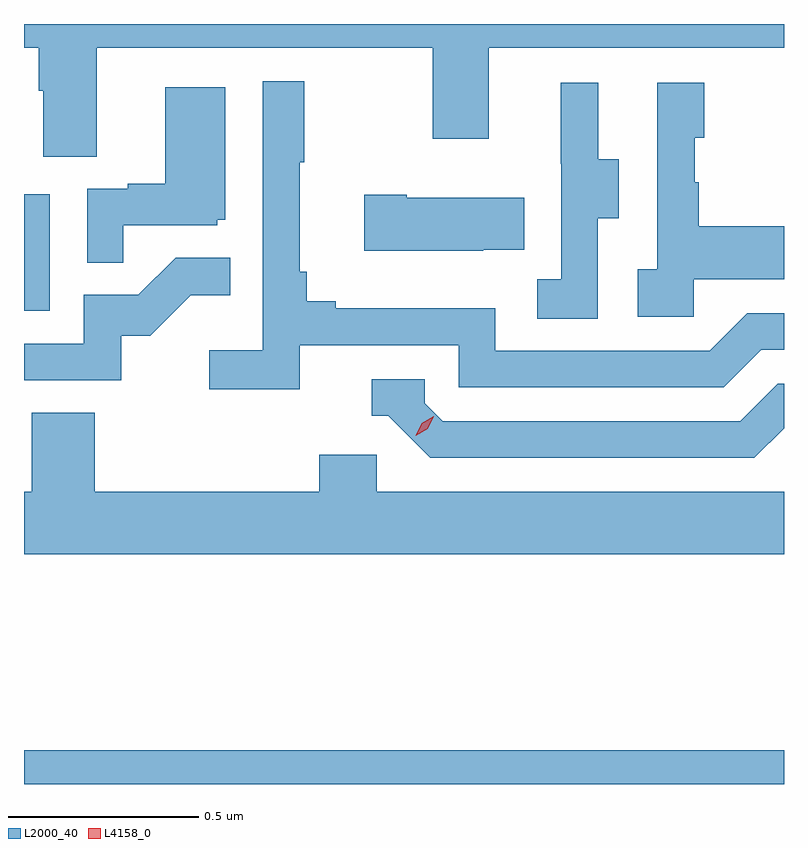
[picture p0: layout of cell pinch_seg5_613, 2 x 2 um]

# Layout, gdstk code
import gdstk
lib = gdstk.Library(unit=1e-6, precision=1e-09)
def R(c, l, rs):  # rectangles x0, y0, x1, y1
    for r in rs: c.add(gdstk.rectangle(r[:2], r[2:], *l))
def P(c, l, *ps):  # polygons
    for p in ps: c.add(gdstk.Polygon(p, *l))
L2000_40 = (2000, 40)
L4158_0 = (4158, 0)

pinch_seg5_613 = lib.new_cell('pinch_seg5_613')
R(pinch_seg5_613, L2000_40, [(1078.946,857.487,1080.946,857.576), (1078.946,858.732,1079.014,859.039)])
P(pinch_seg5_613, L2000_40, [(1079.137,859.424),(1080.022,859.424),(1080.022,859.185),(1080.169,859.185),(1080.169,859.424),(1080.946,859.424),(1080.946,859.487),(1078.946,859.487),(1078.946,859.424),(1078.985,859.424),(1078.985,859.312),(1078.997,859.312),(1078.997,859.138),(1079.137,859.138)],
  [(1079.672,858.642),(1080.09,858.642),(1080.09,858.531),(1080.787,858.531),(1080.886,858.63),(1080.946,858.63),(1080.946,858.726),(1080.849,858.726),(1080.75,858.627),(1080.186,858.627),(1080.186,858.739),(1079.767,858.739),(1079.767,858.758),(1079.69,858.758),(1079.69,858.835),(1079.671,858.835),(1079.671,859.123),(1079.683,859.123),(1079.683,859.336),(1079.574,859.336),(1079.574,858.628),(1079.433,858.628),(1079.433,858.526),(1079.672,858.526)],
  [(1080.456,858.976),(1080.511,858.976),(1080.511,859.131),(1080.457,859.131),(1080.457,859.333),(1080.359,859.333),(1080.359,859.119),(1080.36,859.119),(1080.36,858.815),(1080.297,858.815),(1080.297,858.712),(1080.456,858.712)],
  [(1080.708,858.815),(1080.946,858.815),(1080.946,858.955),(1080.721,858.955),(1080.721,859.07),(1080.711,859.07),(1080.711,859.188),(1080.736,859.188),(1080.736,859.333),(1080.612,859.333),(1080.612,858.842),(1080.561,858.842),(1080.561,858.717),(1080.708,858.717)],
  [(1079.207,858.957),(1079.454,858.957),(1079.454,858.972),(1079.476,858.972),(1079.476,859.321),(1079.318,859.321),(1079.318,859.066),(1079.219,859.066),(1079.219,859.053),(1079.112,859.053),(1079.112,858.859),(1079.207,858.859)],
  [(1080.155,858.893),(1080.263,858.893),(1080.263,859.03),(1079.953,859.03),(1079.953,859.038),(1079.841,859.038),(1079.841,858.89),(1080.155,858.89)],
  [(1079.202,858.666),(1079.278,858.666),(1079.385,858.773),(1079.489,858.773),(1079.489,858.872),(1079.345,858.872),(1079.247,858.774),(1079.103,858.774),(1079.103,858.645),(1078.946,858.645),(1078.946,858.549),(1079.202,858.549)],
  [(1080.946,858.423),(1080.946,858.54),(1080.93,858.54),(1080.831,858.441),(1080.048,858.441),(1080,858.489),(1080,858.552),(1079.861,858.552),(1079.861,858.456),(1079.904,858.456),(1080.015,858.345),(1080.868,858.345)],
  [(1080.946,858.256),(1079.874,858.256),(1079.874,858.354),(1079.723,858.354),(1079.723,858.256),(1079.132,858.256),(1079.132,858.464),(1078.967,858.464),(1078.967,858.256),(1078.946,858.256),(1078.946,858.092),(1080.946,858.092)])
P(pinch_seg5_613, L4158_0, [(1079.977,858.403),(1079.977,858.403),(1079.993,858.436),(1080.024,858.455),(1080.024,858.455),(1080.024,858.455),(1080.008,858.422),(1079.977,858.403)])

lib.write_gds('pinch_seg5_613.gds')
